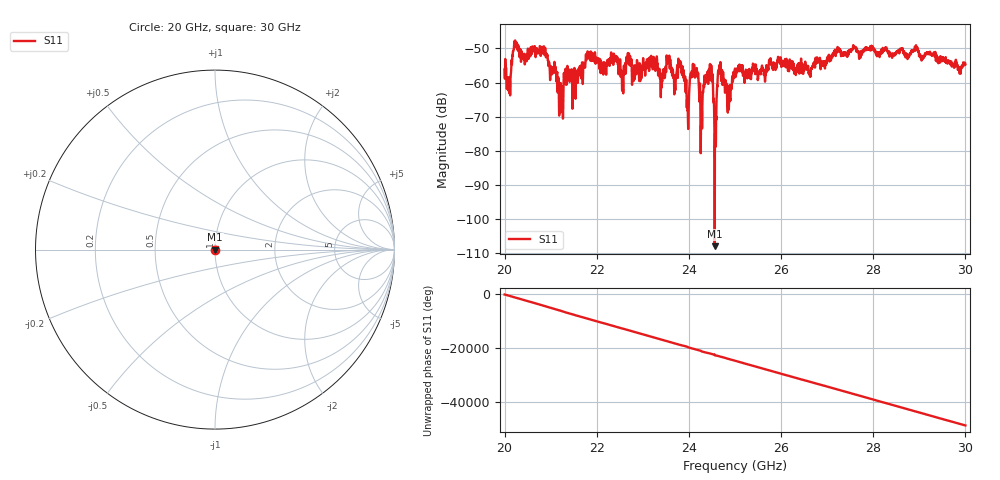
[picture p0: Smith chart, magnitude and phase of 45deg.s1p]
#  HZ  S  RI  R  50.00
! Rohde & Schwarz ZVA40 4Ports - Version 3.90 - 1145.1110k42 SN: 100403
! Date: 2023-10-03 10:43:04
! Measurement: S12
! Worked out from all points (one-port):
!   5001 points, 20 GHz to 30 GHz, reference 50 ohm
!   lowest |S11| = -107.9 dB at 24.56 GHz (marker M1), VSWR 1.00, Z = 50 - j0.000301 ohm
!   |S11| at or under -10 dB: start of sweep to end of sweep
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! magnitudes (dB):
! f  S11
! 20 GHz  -56.2
! 20.09 GHz  -61.3
! 20.24 GHz  -49.4
! 20.43 GHz  -53.0
! 20.84 GHz  -50.7
! 21.25 GHz  -61.4
! 21.33 GHz  -59.6
! 21.51 GHz  -56.0
! 21.83 GHz  -52.3
! 22.5 GHz  -55.4
! 22.69 GHz  -54.5
! 22.81 GHz  -55.3
! 23.19 GHz  -55.4
! 23.38 GHz  -57.2
! 23.75 GHz  -54.9
! 23.84 GHz  -56.9
! 23.97 GHz  -68.1
! 24.13 GHz  -57.1
! 24.27 GHz  -72.2
! 24.47 GHz  -57.2
! 24.56 GHz  -107.9
! 24.67 GHz  -57.1
! 24.86 GHz  -63.9
! 25 GHz  -55.9
! 26.25 GHz  -54.0
! 27.5 GHz  -50.7
! 28.75 GHz  -52.8
! 30 GHz  -54.6
